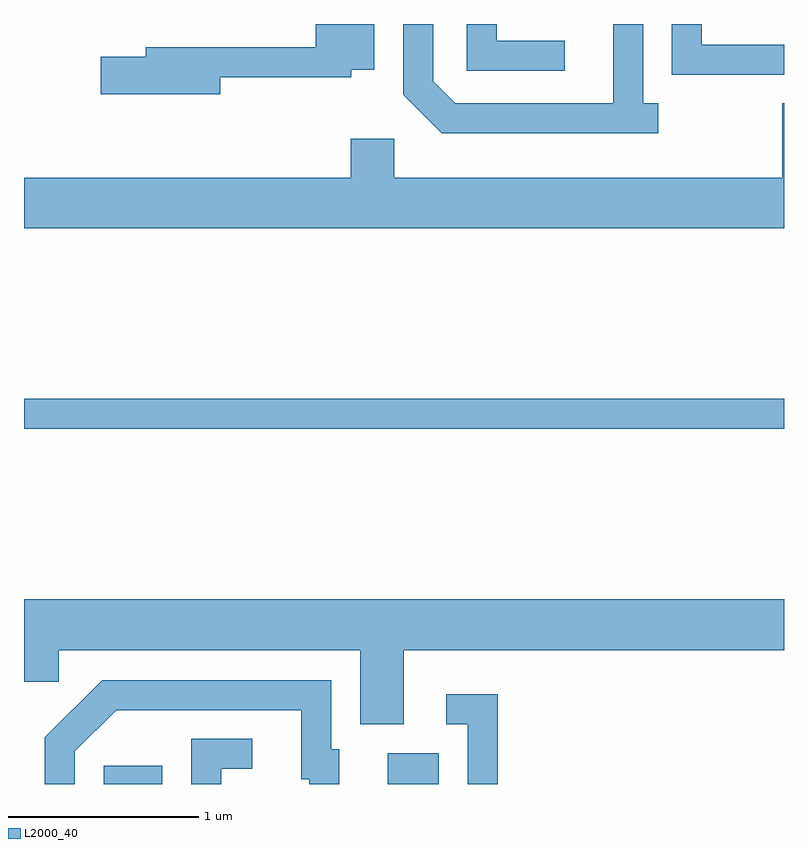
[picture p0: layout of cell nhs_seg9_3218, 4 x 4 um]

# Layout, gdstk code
import gdstk
lib = gdstk.Library(unit=1e-6, precision=1e-09)
def R(c, l, rs):  # rectangles x0, y0, x1, y1
    for r in rs: c.add(gdstk.rectangle(r[:2], r[2:], *l))
def P(c, l, *ps):  # polygons
    for p in ps: c.add(gdstk.Polygon(p, *l))
L2000_40 = (2000, 40)

nhs_seg9_3218 = lib.new_cell('nhs_seg9_3218')
R(nhs_seg9_3218, L2000_40, [(280.031,2004.432,280.339,2004.529), (281.526,2004.432,281.794,2004.594), (279.611,2006.301,283.611,2006.459)])
P(nhs_seg9_3218, L2000_40, [(280.644,2008.151),(281.334,2008.151),(281.334,2008.191),(281.454,2008.191),(281.454,2008.432),(281.146,2008.432),(281.146,2008.309),(280.251,2008.309),(280.251,2008.259),(280.016,2008.259),(280.016,2008.061),(280.644,2008.061)],
  [(282.458,2008.344),(282.099,2008.344),(282.099,2008.432),(281.941,2008.432),(281.941,2008.186),(282.458,2008.186)],
  [(282.948,2008.014),(282.869,2008.014),(282.869,2008.432),(282.711,2008.432),(282.711,2008.014),(281.882,2008.014),(281.764,2008.132),(281.764,2008.432),(281.606,2008.432),(281.606,2008.059),(281.809,2007.856),(282.948,2007.856)],
  [(283.611,2008.324),(283.179,2008.324),(283.179,2008.432),(283.021,2008.432),(283.021,2008.166),(283.611,2008.166)],
  [(283.611,2008.014),(283.601,2008.014),(283.601,2007.624),(281.559,2007.624),(281.559,2007.829),(281.331,2007.829),(281.331,2007.624),(279.611,2007.624),(279.611,2007.356),(283.611,2007.356)],
  [(281.609,2005.136),(283.611,2005.136),(283.611,2005.404),(279.611,2005.404),(279.611,2004.971),(279.794,2004.971),(279.794,2005.136),(281.381,2005.136),(281.381,2004.746),(281.609,2004.746)],
  [(279.879,2004.604),(280.097,2004.821),(281.071,2004.821),(281.071,2004.456),(281.111,2004.456),(281.111,2004.432),(281.269,2004.432),(281.269,2004.614),(281.229,2004.614),(281.229,2004.979),(280.024,2004.979),(279.721,2004.677),(279.721,2004.432),(279.879,2004.432)],
  [(282.104,2004.904),(281.833,2004.904),(281.833,2004.746),(281.946,2004.746),(281.946,2004.432),(282.104,2004.432)],
  [(280.649,2004.511),(280.813,2004.511),(280.813,2004.669),(280.491,2004.669),(280.491,2004.432),(280.649,2004.432)])

lib.write_gds('nhs_seg9_3218.gds')
